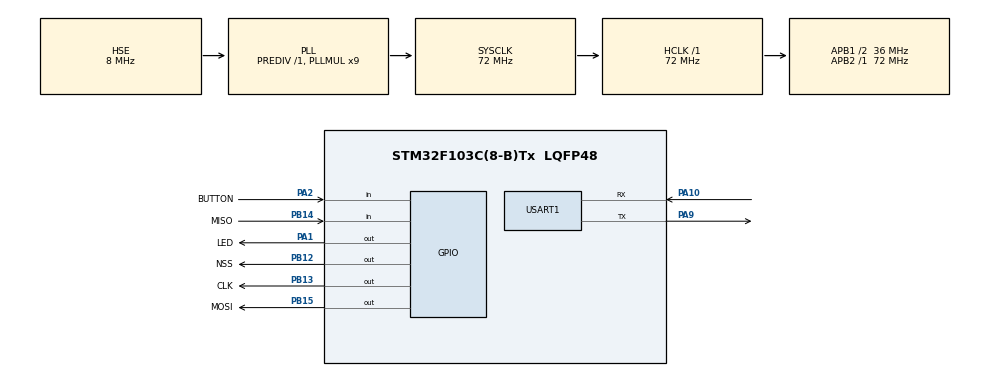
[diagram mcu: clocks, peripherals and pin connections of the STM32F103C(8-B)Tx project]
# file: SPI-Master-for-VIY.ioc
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Mcu.Family=STM32F1
Mcu.Name=STM32F103C(8-B)Tx
Mcu.Package=LQFP48
NVIC.PriorityGroup=NVIC_PRIORITYGROUP_4
PA1.GPIO_Label=LED
PA1.GPIO_ModeDefaultOutputPP=GPIO_MODE_OUTPUT_OD
PA1.GPIO_PuPd=GPIO_NOPULL
PA1.Signal=GPIO_Output
PA10.Mode=Asynchronous
PA10.Signal=USART1_RX
PA13.Mode=Serial_Wire
PA13.Signal=SYS_JTMS-SWDIO
PA14.Mode=Serial_Wire
PA14.Signal=SYS_JTCK-SWCLK
PA2.GPIO_Label=BUTTON
PA2.GPIO_PuPd=GPIO_PULLUP
PA2.Signal=GPIO_Input
PA9.Mode=Asynchronous
PA9.Signal=USART1_TX
PB12.GPIO_Label=NSS
PB12.PinState=GPIO_PIN_SET
PB12.Signal=GPIO_Output
PB13.GPIO_Label=CLK
PB13.Signal=GPIO_Output
PB14.GPIO_Label=MISO
PB14.Signal=GPIO_Input
PB15.GPIO_Label=MOSI
PB15.Signal=GPIO_Output
PD0-OSC_IN.Mode=HSE-External-Oscillator
PD0-OSC_IN.Signal=RCC_OSC_IN
PD1-OSC_OUT.Mode=HSE-External-Oscillator
PD1-OSC_OUT.Signal=RCC_OSC_OUT
ProjectManager.HeapSize=0x200
ProjectManager.StackSize=0x400
ProjectManager.TargetToolchain=STM32CubeIDE
RCC.AHBFreq_Value=72000000
RCC.APB1CLKDivider=RCC_HCLK_DIV2
RCC.APB1Freq_Value=36000000
RCC.APB1TimFreq_Value=72000000
RCC.APB2Freq_Value=72000000
RCC.APB2TimFreq_Value=72000000
RCC.HCLKFreq_Value=72000000
RCC.PLLMUL=RCC_PLL_MUL9
RCC.PLLSourceVirtual=RCC_PLLSOURCE_HSE
RCC.SYSCLKFreq_VALUE=72000000
RCC.SYSCLKSource=RCC_SYSCLKSOURCE_PLLCLK
RCC.USBFreq_Value=72000000
USART1.VirtualMode=VM_ASYNC
board=custom

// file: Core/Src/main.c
/* USER CODE BEGIN Header */
/**
  ******************************************************************************
  * @file           : main.c
  * @brief          : Main program body
  ******************************************************************************
  * @attention
  *
  * Copyright (c) 2022 STMicroelectronics.
  * All rights reserved.
  *
  * This software is licensed under terms that can be found in the LICENSE file
  * in the root directory of this software component.
  * If no LICENSE file comes with this software, it is provided AS-IS.
  *
  ******************************************************************************
  */
/* USER CODE END Header */
#include "main.h"
#include "usart.h"
#include "gpio.h"

/* USER CODE BEGIN Includes */

	#include "stdio.h"
	#include <string.h>

/* USER CODE END Includes */

/* USER CODE BEGIN PD */

//	enum {
//		TRANSFER_WAIT,
//		TRANSFER_COMPLETE,
//		TRANSFER_ERROR
//	};

	#define	BUFFERSIZE	8

/* USER CODE END PD */

/* USER CODE BEGIN PM */

	#define BIT_CHECK( byte , pos )		((byte) &   (1UL << (pos)))

/* USER CODE END PM */

/* USER CODE BEGIN PV */

	char DataChar[0xFF];
//	__IO uint32_t wTransferState = TRANSFER_WAIT;
	int cnt_i=0;
//	uint8_t	Tx_char = 0x36;

/* USER CODE END PV */

void SystemClock_Config(void);
/* USER CODE BEGIN PFP */

	uint16_t BufferCmp(uint8_t *pBuffer1, uint8_t *pBuffer2, uint16_t BufferLength);
	void SendSPI(uint8_t *spi_buffer_u8, uint16_t spi_size_u16 );
	uint8_t InverseOrderInByte (uint8_t input);
	void LocalDelayUs ( uint32_t _delay_u32 );

/* USER CODE END PFP */

int main(void)
{

  /* MCU Configuration--------------------------------------------------------*/

  /* Reset of all peripherals, Initializes the Flash interface and the Systick. */
  HAL_Init();

  /* Configure the system clock */
  SystemClock_Config();

  /* Initialize all configured peripherals */
  MX_GPIO_Init();
  MX_USART1_UART_Init();
  /* USER CODE BEGIN 2 */

	sprintf(DataChar,"\r\n\r\n\tSPI+DMA MASTER for VIY.UA\r\n" );
	HAL_UART_Transmit( &huart1, (uint8_t *)DataChar , strlen(DataChar) , 100 ) ;

	#define DATE_as_int_str 	(__DATE__)
	#define TIME_as_int_str 	(__TIME__)
	sprintf(DataChar,"\tBuild: %s. Time: %s." , DATE_as_int_str , TIME_as_int_str ) ;
	HAL_UART_Transmit( &huart1, (uint8_t *)DataChar , strlen(DataChar) , 100 ) ;

	sprintf(DataChar,"\r\n\tfor debug: UART1 115200/8-N-1\r\n" ) ;
	HAL_UART_Transmit( &huart1, (uint8_t *)DataChar , strlen(DataChar) , 100 ) ;

	HAL_GPIO_WritePin(NSS_GPIO_Port, NSS_Pin, SET);
	HAL_GPIO_WritePin(CLK_GPIO_Port, CLK_Pin, SET);
	HAL_GPIO_WritePin(MOSI_GPIO_Port, MOSI_Pin, SET);

  /* USER CODE END 2 */

  /* Infinite loop */
  /* USER CODE BEGIN WHILE */
  while (1)
  {
	uint8_t aTxBuffer[BUFFERSIZE] = "SPI_DMA7" ;
	uint8_t aRxBuffer[BUFFERSIZE] = { 0x00 } ;

	sprintf(DataChar,"1Tx: " ) ;
	HAL_UART_Transmit( &huart1, (uint8_t *)DataChar , strlen(DataChar) , 100 ) ;
	snprintf(DataChar, BUFFERSIZE + 1 , "%s", (char*)aTxBuffer ) ;
	HAL_UART_Transmit( &huart1, (uint8_t *)DataChar , strlen(DataChar) , 100 ) ;
	sprintf(DataChar,"\r\n" ) ;
	HAL_UART_Transmit( &huart1, (uint8_t *)DataChar , strlen(DataChar) , 100 ) ;

	sprintf(DataChar,"1Rx: " ) ;
	HAL_UART_Transmit( &huart1, (uint8_t *)DataChar , strlen(DataChar) , 100 ) ;
	snprintf(DataChar, BUFFERSIZE + 1 , "%s", (char*)aRxBuffer ) ;
	HAL_UART_Transmit( &huart1, (uint8_t *)DataChar , strlen(DataChar) , 100 ) ;
	sprintf(DataChar,"\r\n" ) ;
	HAL_UART_Transmit( &huart1, (uint8_t *)DataChar , strlen(DataChar) , 100 ) ;

	while (HAL_GPIO_ReadPin(BUTTON_GPIO_Port, BUTTON_Pin) != GPIO_PIN_RESET) {
		HAL_GPIO_TogglePin(LED_GPIO_Port, LED_Pin);
		sprintf(DataChar,"  press the button %d \r" , cnt_i++ ) ;
		HAL_UART_Transmit( &huart1, (uint8_t *)DataChar , strlen(DataChar) , 100 ) ;
		HAL_Delay(100);
	}
	HAL_GPIO_WritePin(LED_GPIO_Port, LED_Pin, SET);
	sprintf(DataChar,"\r\nButton pressed.\r\n" ) ;
	HAL_UART_Transmit( &huart1, (uint8_t *)DataChar , strlen(DataChar) , 100 ) ;

//	wTransferState = TRANSFER_WAIT;

	sprintf(DataChar,"SendSPI\r\n" ) ;
	HAL_UART_Transmit( &huart1, (uint8_t *)DataChar , strlen(DataChar) , 100 ) ;
	HAL_GPIO_WritePin(NSS_GPIO_Port, NSS_Pin, RESET);

	SendSPI( aTxBuffer, BUFFERSIZE ) ;

//	if(HAL_SPI_TransmitReceive_DMA(&hspi2, (uint8_t*)aTxBuffer, (uint8_t *)aRxBuffer, BUFFERSIZE) != HAL_OK) {
//		HAL_Delay(100); 	//	timeout for CallBack
//		sprintf(DataChar,"Start TransmitReceive_DMA - FAIL\r\n" ) ;
//		HAL_UART_Transmit( &huart1, (uint8_t *)DataChar , strlen(DataChar) , 100 ) ;
//	} else {
//		HAL_Delay(100); 	//	timeout for CallBack
//		sprintf(DataChar,"Start TransmitReceive_DMA - Ok.\r\n" ) ;
//		HAL_UART_Transmit( &huart1, (uint8_t *)DataChar , strlen(DataChar) , 100 ) ;
//	}

//	sprintf(DataChar," \r\n" ) ;
//	HAL_UART_Transmit( &huart1, (uint8_t *)DataChar , strlen(DataChar) , 100 ) ;

//	cnt_i = 0;
//	 do {
//		HAL_GPIO_TogglePin(LED_GPIO_Port, LED_Pin);
//		sprintf(DataChar,"  TRANSFER_WAIT.. %d\r", cnt_i++ ) ;
//		HAL_UART_Transmit( &huart1, (uint8_t *)DataChar , strlen(DataChar) , 100 ) ;
//		HAL_Delay(100);
//	} while (wTransferState == TRANSFER_WAIT) ;

	HAL_GPIO_WritePin(LED_GPIO_Port, LED_Pin, SET);
	sprintf(DataChar,"\r\nMaster Transfer Completed.\r\n" ) ;
	HAL_UART_Transmit( &huart1, (uint8_t *)DataChar , strlen(DataChar) , 100 ) ;
//
//	sprintf(DataChar,"2Tx: " ) ;
//	HAL_UART_Transmit( &huart1, (uint8_t *)DataChar , strlen(DataChar) , 100 ) ;
//	snprintf(DataChar, BUFFERSIZE + 1 , "%s", (char*)aTxBuffer ) ;
//	HAL_UART_Transmit( &huart1, (uint8_t *)DataChar , strlen(DataChar) , 100 ) ;
//	sprintf(DataChar,"\r\n" ) ;
//	HAL_UART_Transmit( &huart1, (uint8_t *)DataChar , strlen(DataChar) , 100 ) ;
//
//	sprintf(DataChar,"2Rx: " ) ;
//	HAL_UART_Transmit( &huart1, (uint8_t *)DataChar , strlen(DataChar) , 100 ) ;
//	snprintf(DataChar, BUFFERSIZE + 1 , "%s", (char*)aRxBuffer ) ;
//	HAL_UART_Transmit( &huart1, (uint8_t *)DataChar , strlen(DataChar) , 100 ) ;
//	sprintf(DataChar,"\r\n" ) ;
//	HAL_UART_Transmit( &huart1, (uint8_t *)DataChar , strlen(DataChar) , 100 ) ;

//	uint16_t buffer_cmp_res = 0;
//
//	switch(wTransferState) {
//		case TRANSFER_COMPLETE :
//			buffer_cmp_res = BufferCmp((uint8_t*)aTxBuffer, (uint8_t*)aRxBuffer, BUFFERSIZE);
//			sprintf(DataChar,"buffer_cmp_res= %d\r\n", buffer_cmp_res ) ;
//			HAL_UART_Transmit( &huart1, (uint8_t *)DataChar , strlen(DataChar) , 100 ) ;
//
//		  if(buffer_cmp_res)  {
//				sprintf(DataChar,"Buffer cmp - Wrong.\r\n") ;
//				HAL_UART_Transmit( &huart1, (uint8_t *)DataChar , strlen(DataChar) , 100 ) ;
//		  } else {
//				sprintf(DataChar,"Buffer cmp - Success.\r\n") ;
//				HAL_UART_Transmit( &huart1, (uint8_t *)DataChar , strlen(DataChar) , 100 ) ;
//		  }
//		break;
//		default: {} break;
//	}

	sprintf(DataChar,"Finaly HAL_Delay(1000)\r\n\r\n" ) ;
	HAL_UART_Transmit( &huart1, (uint8_t *)DataChar , strlen(DataChar) , 100 ) ;
	HAL_Delay(1000);

    /* USER CODE END WHILE */

  }
}

void SystemClock_Config(void)
{
  RCC_OscInitTypeDef RCC_OscInitStruct = {0};
  RCC_ClkInitTypeDef RCC_ClkInitStruct = {0};

  /** Initializes the RCC Oscillators according to the specified parameters
  * in the RCC_OscInitTypeDef structure.
  */
  RCC_OscInitStruct.OscillatorType = RCC_OSCILLATORTYPE_HSE;
  RCC_OscInitStruct.HSEState = RCC_HSE_ON;
  RCC_OscInitStruct.HSEPredivValue = RCC_HSE_PREDIV_DIV1;
  RCC_OscInitStruct.HSIState = RCC_HSI_ON;
  RCC_OscInitStruct.PLL.PLLState = RCC_PLL_ON;
  RCC_OscInitStruct.PLL.PLLSource = RCC_PLLSOURCE_HSE;
  RCC_OscInitStruct.PLL.PLLMUL = RCC_PLL_MUL9;
  if (HAL_RCC_OscConfig(&RCC_OscInitStruct) != HAL_OK)
  {
    Error_Handler();
  }

  /** Initializes the CPU, AHB and APB buses clocks
  */
  RCC_ClkInitStruct.ClockType = RCC_CLOCKTYPE_HCLK|RCC_CLOCKTYPE_SYSCLK
                              |RCC_CLOCKTYPE_PCLK1|RCC_CLOCKTYPE_PCLK2;
  RCC_ClkInitStruct.SYSCLKSource = RCC_SYSCLKSOURCE_PLLCLK;
  RCC_ClkInitStruct.AHBCLKDivider = RCC_SYSCLK_DIV1;
  RCC_ClkInitStruct.APB1CLKDivider = RCC_HCLK_DIV2;
  RCC_ClkInitStruct.APB2CLKDivider = RCC_HCLK_DIV1;

  if (HAL_RCC_ClockConfig(&RCC_ClkInitStruct, FLASH_LATENCY_2) != HAL_OK)
  {
    Error_Handler();
  }
}

/* USER CODE BEGIN 4 */

//void HAL_SPI_TxRxCpltCallback(SPI_HandleTypeDef *hspi) {
//	HAL_GPIO_WritePin(LED_GPIO_Port, LED_Pin, RESET);
//	HAL_GPIO_WritePin(NSS_GPIO_Port, NSS_Pin, SET);
//	sprintf(DataChar,"Cplt-CallBack: TRANSFER COMPLETE.\r\n" ) ;
//	HAL_UART_Transmit( &huart1, (uint8_t *)DataChar , strlen(DataChar) , 100 ) ;
//	wTransferState = TRANSFER_COMPLETE;
//}
//-------------------------------------------------------

//void HAL_SPI_ErrorCallback(SPI_HandleTypeDef *hspi) {
//	sprintf(DataChar,"!!!-TRANSFER_ERROR-!!!\r\n" ) ;
//	HAL_UART_Transmit( &huart1, (uint8_t *)DataChar , strlen(DataChar) , 100 ) ;
//	wTransferState = TRANSFER_ERROR;
//}
//-------------------------------------------------------

uint16_t BufferCmp(uint8_t* pBuffer1, uint8_t* pBuffer2, uint16_t BufferLength) {
	BufferLength++;
	while (BufferLength--) {
		if((*pBuffer1) != *pBuffer2) {
			return BufferLength;
		}
			pBuffer1++;
			pBuffer2++;
	}
	return 0;
}
//-------------------------------------------------------

void SendSPI(uint8_t *spi_buffer_u8, uint16_t spi_size_u16 ) {
	HAL_GPIO_WritePin(NSS_GPIO_Port, NSS_Pin, RESET);
	HAL_Delay(1);

	HAL_GPIO_WritePin(MOSI_GPIO_Port, MOSI_Pin, RESET);
	HAL_Delay(1);
	for	(int byte = 0; byte < spi_size_u16; byte++) {
		uint8_t byte_to_Send = InverseOrderInByte(spi_buffer_u8[byte]);
		for ( int bit=0; bit<8; bit++) {
			HAL_GPIO_WritePin(CLK_GPIO_Port, CLK_Pin, RESET);
			uint8_t mosi_bit = BIT_CHECK(byte_to_Send, bit);
			if (mosi_bit == 0 ) {
				HAL_GPIO_WritePin(MOSI_GPIO_Port, MOSI_Pin, RESET);
			} else {
				HAL_GPIO_WritePin(MOSI_GPIO_Port, MOSI_Pin, SET);
			}
			HAL_Delay(1);
			HAL_GPIO_WritePin(CLK_GPIO_Port, CLK_Pin, SET);
			HAL_Delay(1);
		}
	}
	HAL_GPIO_WritePin(NSS_GPIO_Port, NSS_Pin, SET);
}
//-------------------------------------------------------

uint8_t InverseOrderInByte (uint8_t input) {

    uint8_t var_u8 =((input & 0x01) << 7) |
					((input & 0x02) << 5) |
					((input & 0x04) << 3) |
					((input & 0x08) << 1) |
					((input & 0x10) >> 1) |
					((input & 0x20) >> 3) |
					((input & 0x40) >> 5) |
					((input & 0x80) >> 7) ;
    return var_u8 ;
}
/***************************************************************************************/

void LocalDelayUs ( uint32_t _delay_u32 ) {

	for ( ; _delay_u32 > 0; _delay_u32-- ) {
		__asm( "nop" ) ;
	}
}
/***************************************************************************************/

/* USER CODE END 4 */

void Error_Handler(void)
{
  __disable_irq();
  while (1)
  {
  }
}
